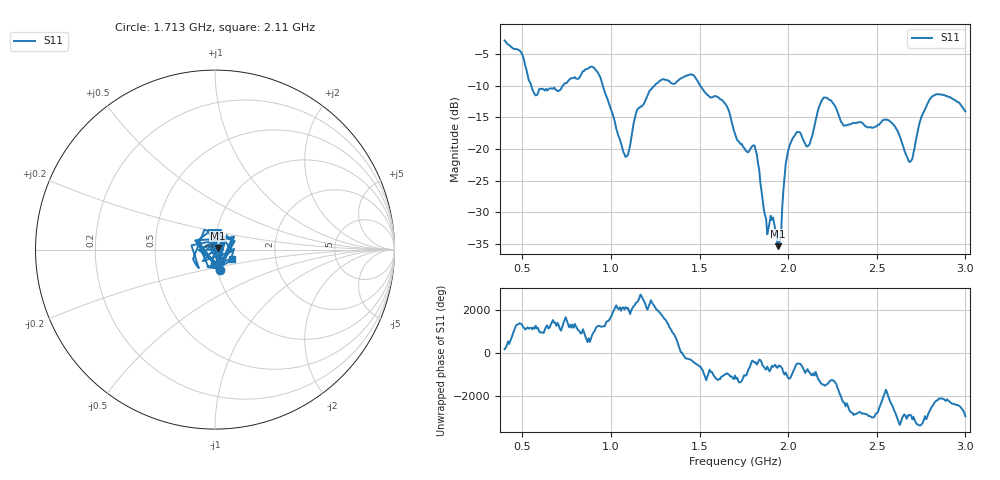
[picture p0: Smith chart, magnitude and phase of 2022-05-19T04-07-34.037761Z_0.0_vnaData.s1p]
!Created with skrf (http://scikit-rf.org).
# Hz S RI R 50.0
!freq ReS11 ImS11
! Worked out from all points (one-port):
!   401 points, 400 MHz to 3 GHz, reference 50 ohm
!   lowest |S11| = -35.3 dB at 1.94 GHz (marker M1), VSWR 1.03, Z = 51.4 + j0.975 ohm
!   |S11| at or under -10 dB: 550.8 MHz to 728.4 MHz (177.6 MHz wide, 27.8 % of centre); 954.1 MHz to 1.246 GHz (291.6 MHz wide, 26.5 % of centre); 1.505 GHz to end of sweep
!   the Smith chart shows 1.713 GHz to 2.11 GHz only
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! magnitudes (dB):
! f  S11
! 400 MHz  -2.8
! 491 MHz  -4.6
! 569 MHz  -11.3
! 725 MHz  -10.1
! 907 MHz  -7.2
! 1.05 GHz  -18.4
! 1.089 GHz  -21.1
! 1.147 GHz  -13.8
! 1.226 GHz  -10.6
! 1.375 GHz  -9.2
! 1.46 GHz  -8.3
! 1.622 GHz  -12.2
! 1.7 GHz  -17.6
! 1.81 GHz  -19.5
! 1.875 GHz  -31.0
! 1.915 GHz  -30.8
! 1.94 GHz  -35.3
! 1.954 GHz  -34.2
! 1.992 GHz  -21.3
! 2.025 GHz  -18.3
! 2.116 GHz  -19.4
! 2.207 GHz  -11.9
! 2.35 GHz  -16.1
! 2.571 GHz  -15.5
! 2.675 GHz  -21.5
! 2.701 GHz  -21.5
! 2.812 GHz  -11.7
! 3 GHz  -14.0
